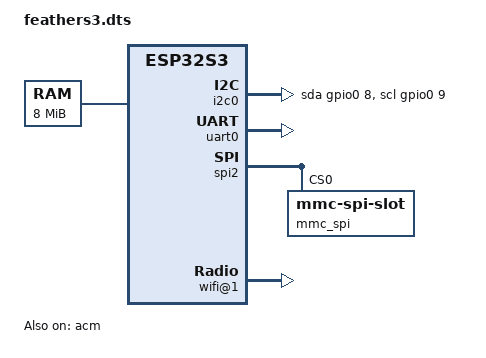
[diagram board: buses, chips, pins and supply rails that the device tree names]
// SPDX-License-Identifier: GPL-2.0
/dts-v1/;
#include <dt-bindings/gpio/gpio.h>
#include <dt-bindings/interrupt-controller/irq.h>
#include "esp32s3.dtsi"

/ {
	chosen {
		bootargs = "earlycon=esp32s3acm,mmio32,0x60038000 console=ttyGS3 debug rw root=mtd:rootfs no_hash_pointers ";
	};

	memory@0 {
		device_type = "memory";
		reg = <0x3d800000 0x00800000>;
	};

	i2c0 {
		#address-cells = <1>;
		#size-cells = <0>;
		compatible = "i2c-gpio";

		sda-gpios = <&gpio0 8 (GPIO_ACTIVE_HIGH | GPIO_OPEN_DRAIN)>;
		scl-gpios = <&gpio0 9 (GPIO_ACTIVE_HIGH | GPIO_OPEN_DRAIN)>;

		pinctrl-0 = <&i2c0_pins>;
		pinctrl-names = "default";
	};
};

&iomux {
	i2c0_pins: i2c0_pins {
		pinctrl-single,pins = <
			PIN(8) FUN0_20MA_IE_WPU			/* SDA */
			PIN(9) FUN0_20MA_IE_WPU>;		/* SCL */
	};
	spi2_pins: spi2_pins {
		pinctrl-single,pins = <
			PIN(10) (FUN_SEL(4) | FUN_DRV_20MA)	/* CS0 */
			PIN(35) (FUN_SEL(2) | FUN_DRV_40MA)	/* MOSI */
			PIN(36) (FUN_SEL(2) | FUN_DRV_40MA)	/* SCK */
			PIN(37) (FUN_SEL(2) | FUN0_20MA_IE_WPU)>;/* MISO */
	};
	uart0_pins: uart0_pins {
		pinctrl-single,pins = <
			PIN(43) FUN0_20MA			/* U0TXD */
			PIN(44) FUN0_20MA_IE_WPU>;		/* U0RXD */
	};
};

&uart0 {
	pinctrl-0 = <&uart0_pins>;
	pinctrl-names = "default";
	status = "ok";
};

&spi2 {
	pinctrl-0 = <&spi2_pins>;
	pinctrl-names = "default";
	status = "ok";

	mmc_spi@0 {
		compatible = "mmc-spi-slot";
		reg = <0>;
	};
};

&acm {
	status = "ok";
};

&ipc {
	wifi@1 {
		compatible = "esp,esp32-wifi-shmem";
		reg = <1>;
	};
};

&intc {
	reg = <0x600c2800 0x800>;
};
